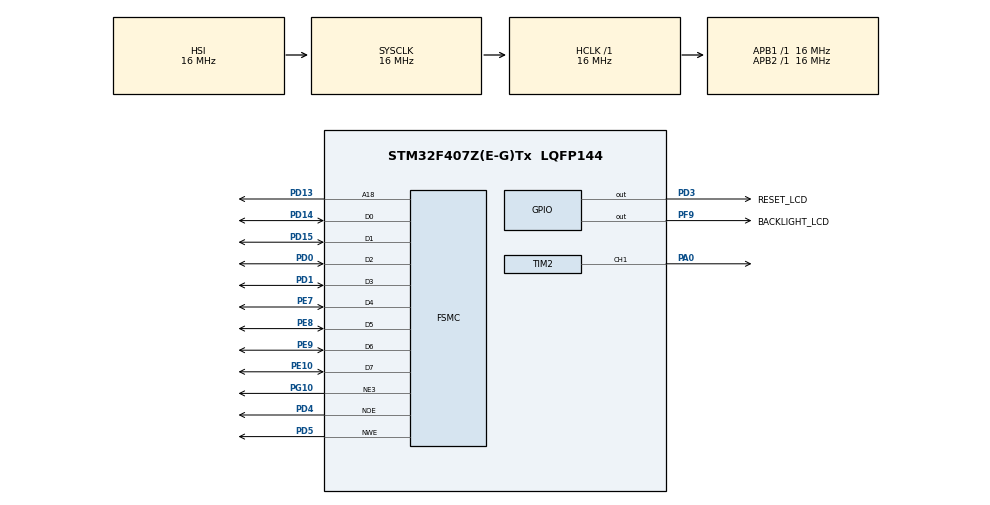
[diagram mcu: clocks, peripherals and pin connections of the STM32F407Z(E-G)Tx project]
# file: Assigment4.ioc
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Mcu.Family=STM32F4
Mcu.Name=STM32F407Z(E-G)Tx
Mcu.Package=LQFP144
NVIC.PriorityGroup=NVIC_PRIORITYGROUP_4
NVIC.TIM2_IRQn=true\:0\:0\:false\:false\:true\:true\:true\:true
NVIC.TIM3_IRQn=true\:0\:0\:false\:false\:true\:true\:true\:true
PA0-WKUP.Signal=S_TIM2_CH1_ETR
PD0.Signal=FSMC_D2_DA2
PD1.Signal=FSMC_D3_DA3
PD13.Signal=FSMC_A18
PD14.Signal=FSMC_D0_DA0
PD15.Signal=FSMC_D1_DA1
PD3.GPIO_Label=RESET_LCD
PD3.Signal=GPIO_Output
PD4.Signal=FSMC_NOE
PD5.Signal=FSMC_NWE
PE10.Signal=FSMC_D7_DA7
PE7.Signal=FSMC_D4_DA4
PE8.Signal=FSMC_D5_DA5
PE9.Signal=FSMC_D6_DA6
PF9.GPIO_Label=BACKLIGHT_LCD
PF9.Signal=GPIO_Output
PG10.Mode=NorPsramChipSelect3_1
PG10.Signal=FSMC_NE3
ProjectManager.HeapSize=0x200
ProjectManager.StackSize=0x400
ProjectManager.TargetToolchain=STM32CubeIDE
RCC.AHBFreq_Value=16000000
RCC.APB1Freq_Value=16000000
RCC.APB2Freq_Value=16000000
RCC.CortexFreq_Value=16000000
RCC.HSE_VALUE=25000000
RCC.HSI_VALUE=16000000
RCC.LSE_VALUE=32768
RCC.SYSCLKFreq_VALUE=16000000
RCC.VCOOutputFreq_Value=192000000
RTC.Date=10
RTC.Month=RTC_MONTH_JUNE
RTC.WeekDay=RTC_WEEKDAY_WEDNESDAY
SH.FSMC_A18.0=FSMC_A18,A18_1
SH.FSMC_D0_DA0.0=FSMC_D0,8b-d1
SH.FSMC_D1_DA1.0=FSMC_D1,8b-d1
SH.FSMC_D2_DA2.0=FSMC_D2,8b-d1
SH.FSMC_D3_DA3.0=FSMC_D3,8b-d1
SH.FSMC_D4_DA4.0=FSMC_D4,8b-d1
SH.FSMC_D5_DA5.0=FSMC_D5,8b-d1
SH.FSMC_D6_DA6.0=FSMC_D6,8b-d1
SH.FSMC_D7_DA7.0=FSMC_D7,8b-d1
SH.FSMC_NOE.0=FSMC_NOE,Lcd1
SH.FSMC_NWE.0=FSMC_NWE,Lcd1
SH.S_TIM2_CH1_ETR.0=TIM2_CH1,PWM Generation1 CH1
TIM2.Channel-PWM\ Generation1\ CH1=TIM_CHANNEL_1
TIM2.Prescaler=99
TIM3.Prescaler=15
VP_RTC_VS_RTC_Activate.Mode=RTC_Enabled
VP_RTC_VS_RTC_Calendar.Mode=RTC_Calendar
VP_TIM2_VS_ClockSourceINT.Mode=Internal
VP_TIM3_VS_ClockSourceINT.Mode=Internal
board=custom

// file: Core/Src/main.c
/* USER CODE BEGIN Header */
/**
  ****************************************************************************
  * @file           : main.c
  * @brief          : Main program body
  ****************************************************************************
  * @attention
  *
  * Copyright (c) 2026 STMicroelectronics.
  * All rights reserved.
  *
  * This software is licensed under terms that can be found in the LICENSE file
  * in the root directory of this software component.
  * If no LICENSE file comes with this software, it is provided AS-IS.
  *
  ****************************************************************************
  */
/* USER CODE END Header */
#include "main.h"

/* USER CODE BEGIN Includes */
#include "drv_lcd.h"
#include "stdio.h"
/* USER CODE END Includes */

RTC_HandleTypeDef hrtc;

TIM_HandleTypeDef htim2;
TIM_HandleTypeDef htim3;

SRAM_HandleTypeDef hsram1;

/* USER CODE BEGIN PV */
volatile uint8_t updateled = 0;
volatile uint8_t lcd_update_requested = 0;

volatile uint16_t global_time = 0;

RTC_TimeTypeDef sTime = {0};
RTC_DateTypeDef sDate = {0};
/* USER CODE END PV */

void SystemClock_Config(void);
static void MX_GPIO_Init(void);
static void MX_TIM2_Init(void);
static void MX_FSMC_Init(void);
static void MX_TIM3_Init(void);
static void MX_RTC_Init(void);

/* USER CODE BEGIN 0 */
void HAL_TIM_PeriodElapsedCallback(TIM_HandleTypeDef *htim) {
	if(htim->Instance == TIM2) {
		updateled = 1;
	}

	if(htim->Instance == TIM3) {
		global_time++;

		if(global_time >= 1000) {
			global_time = 0;
		}

		if(global_time % 100 == 0) {
			lcd_update_requested = 1;
		}
	}
}

void ledFade(uint16_t system_ms) {
    uint32_t duty_cycle = 0;

    // Use the absolute system time instead of a local counter
    if(system_ms <= 600) {
        duty_cycle = 159 - ((159 * (uint16_t)system_ms) / 600);
        __HAL_TIM_SET_COMPARE(&htim2, TIM_CHANNEL_1, duty_cycle);
    } else {
        // Explicitly keep the LED off from 601ms to 999ms
        __HAL_TIM_SET_COMPARE(&htim2, TIM_CHANNEL_1, 0);
    }

	}

void lcdUpdate() {
	HAL_RTC_GetTime(&hrtc, &sTime, RTC_FORMAT_BIN);
	HAL_RTC_GetDate(&hrtc, &sDate, RTC_FORMAT_BIN);

	char timeINlcd[20];

	sprintf(timeINlcd, "%02d:%02d:%02d:%03d", sTime.Hours, sTime.Minutes, sTime.Seconds, global_time);

    lcd_set_color(YELLOW, BLACK);       // <-- set font BLACK, background CYAN
	lcd_show_string(8, 100, 32, timeINlcd);
}
/* USER CODE END 0 */

int main(void)
{

  /* MCU Configuration--------------------------------------------------------*/

  /* Reset of all peripherals, Initializes the Flash interface and the Systick. */
  HAL_Init();

  /* Configure the system clock */
  SystemClock_Config();

  /* Initialize all configured peripherals */
  MX_GPIO_Init();
  MX_TIM2_Init();
  MX_FSMC_Init();
  MX_TIM3_Init();
  MX_RTC_Init();
  /* USER CODE BEGIN 2 */
  HAL_TIM_Base_Start_IT(&htim2);
  HAL_TIM_Base_Start_IT(&htim3);

  HAL_TIM_PWM_Start(&htim2, TIM_CHANNEL_1);

  drv_lcd_init();
  lcd_clear(YELLOW);
  /* USER CODE END 2 */

  /* Infinite loop */
  while (1)
  {

    /* USER CODE BEGIN 3 */
	  if(updateled == 1) {
		  updateled = 0;
		  ledFade(global_time);
	  }

	  if(lcd_update_requested == 1) {
		  lcd_update_requested = 0;
		  lcdUpdate();
	  }

  }
  /* USER CODE END 3 */
}

void SystemClock_Config(void)
{
  RCC_OscInitTypeDef RCC_OscInitStruct = {0};
  RCC_ClkInitTypeDef RCC_ClkInitStruct = {0};

  /** Configure the main internal regulator output voltage
  */
  __HAL_RCC_PWR_CLK_ENABLE();
  __HAL_PWR_VOLTAGESCALING_CONFIG(PWR_REGULATOR_VOLTAGE_SCALE1);

  /** Initializes the RCC Oscillators according to the specified parameters
  * in the RCC_OscInitTypeDef structure.
  */
  RCC_OscInitStruct.OscillatorType = RCC_OSCILLATORTYPE_HSI|RCC_OSCILLATORTYPE_LSI;
  RCC_OscInitStruct.HSIState = RCC_HSI_ON;
  RCC_OscInitStruct.HSICalibrationValue = RCC_HSICALIBRATION_DEFAULT;
  RCC_OscInitStruct.LSIState = RCC_LSI_ON;
  RCC_OscInitStruct.PLL.PLLState = RCC_PLL_NONE;
  if (HAL_RCC_OscConfig(&RCC_OscInitStruct) != HAL_OK)
  {
    Error_Handler();
  }

  /** Initializes the CPU, AHB and APB buses clocks
  */
  RCC_ClkInitStruct.ClockType = RCC_CLOCKTYPE_HCLK|RCC_CLOCKTYPE_SYSCLK
                              |RCC_CLOCKTYPE_PCLK1|RCC_CLOCKTYPE_PCLK2;
  RCC_ClkInitStruct.SYSCLKSource = RCC_SYSCLKSOURCE_HSI;
  RCC_ClkInitStruct.AHBCLKDivider = RCC_SYSCLK_DIV1;
  RCC_ClkInitStruct.APB1CLKDivider = RCC_HCLK_DIV1;
  RCC_ClkInitStruct.APB2CLKDivider = RCC_HCLK_DIV1;

  if (HAL_RCC_ClockConfig(&RCC_ClkInitStruct, FLASH_LATENCY_0) != HAL_OK)
  {
    Error_Handler();
  }
}

static void MX_RTC_Init(void)
{

  RTC_TimeTypeDef sTime = {0};
  RTC_DateTypeDef sDate = {0};

  /** Initialize RTC Only
  */
  hrtc.Instance = RTC;
  hrtc.Init.HourFormat = RTC_HOURFORMAT_24;
  hrtc.Init.AsynchPrediv = 127;
  hrtc.Init.SynchPrediv = 255;
  hrtc.Init.OutPut = RTC_OUTPUT_DISABLE;
  hrtc.Init.OutPutPolarity = RTC_OUTPUT_POLARITY_HIGH;
  hrtc.Init.OutPutType = RTC_OUTPUT_TYPE_OPENDRAIN;
  if (HAL_RTC_Init(&hrtc) != HAL_OK)
  {
    Error_Handler();
  }

  /** Initialize RTC and set the Time and Date
  */
  sTime.Hours = 0x0;
  sTime.Minutes = 0x0;
  sTime.Seconds = 0x0;
  sTime.DayLightSaving = RTC_DAYLIGHTSAVING_NONE;
  sTime.StoreOperation = RTC_STOREOPERATION_RESET;
  if (HAL_RTC_SetTime(&hrtc, &sTime, RTC_FORMAT_BCD) != HAL_OK)
  {
    Error_Handler();
  }
  sDate.WeekDay = RTC_WEEKDAY_FRIDAY;
  sDate.Month = RTC_MONTH_JUNE;
  sDate.Date = 0x5;
  sDate.Year = 0x26;

  if (HAL_RTC_SetDate(&hrtc, &sDate, RTC_FORMAT_BCD) != HAL_OK)
  {
    Error_Handler();
  }

}

static void MX_TIM2_Init(void)
{

  TIM_ClockConfigTypeDef sClockSourceConfig = {0};
  TIM_MasterConfigTypeDef sMasterConfig = {0};
  TIM_OC_InitTypeDef sConfigOC = {0};

  htim2.Instance = TIM2;
  htim2.Init.Prescaler = 99;
  htim2.Init.CounterMode = TIM_COUNTERMODE_UP;
  htim2.Init.Period = 159;
  htim2.Init.ClockDivision = TIM_CLOCKDIVISION_DIV1;
  htim2.Init.AutoReloadPreload = TIM_AUTORELOAD_PRELOAD_DISABLE;
  if (HAL_TIM_Base_Init(&htim2) != HAL_OK)
  {
    Error_Handler();
  }
  sClockSourceConfig.ClockSource = TIM_CLOCKSOURCE_INTERNAL;
  if (HAL_TIM_ConfigClockSource(&htim2, &sClockSourceConfig) != HAL_OK)
  {
    Error_Handler();
  }
  if (HAL_TIM_PWM_Init(&htim2) != HAL_OK)
  {
    Error_Handler();
  }
  sMasterConfig.MasterOutputTrigger = TIM_TRGO_RESET;
  sMasterConfig.MasterSlaveMode = TIM_MASTERSLAVEMODE_DISABLE;
  if (HAL_TIMEx_MasterConfigSynchronization(&htim2, &sMasterConfig) != HAL_OK)
  {
    Error_Handler();
  }
  sConfigOC.OCMode = TIM_OCMODE_PWM1;
  sConfigOC.Pulse = 0;
  sConfigOC.OCPolarity = TIM_OCPOLARITY_HIGH;
  sConfigOC.OCFastMode = TIM_OCFAST_DISABLE;
  if (HAL_TIM_PWM_ConfigChannel(&htim2, &sConfigOC, TIM_CHANNEL_1) != HAL_OK)
  {
    Error_Handler();
  }
  HAL_TIM_MspPostInit(&htim2);

}

static void MX_TIM3_Init(void)
{

  TIM_ClockConfigTypeDef sClockSourceConfig = {0};
  TIM_MasterConfigTypeDef sMasterConfig = {0};

  htim3.Instance = TIM3;
  htim3.Init.Prescaler = 15;
  htim3.Init.CounterMode = TIM_COUNTERMODE_UP;
  htim3.Init.Period = 999;
  htim3.Init.ClockDivision = TIM_CLOCKDIVISION_DIV1;
  htim3.Init.AutoReloadPreload = TIM_AUTORELOAD_PRELOAD_DISABLE;
  if (HAL_TIM_Base_Init(&htim3) != HAL_OK)
  {
    Error_Handler();
  }
  sClockSourceConfig.ClockSource = TIM_CLOCKSOURCE_INTERNAL;
  if (HAL_TIM_ConfigClockSource(&htim3, &sClockSourceConfig) != HAL_OK)
  {
    Error_Handler();
  }
  sMasterConfig.MasterOutputTrigger = TIM_TRGO_RESET;
  sMasterConfig.MasterSlaveMode = TIM_MASTERSLAVEMODE_DISABLE;
  if (HAL_TIMEx_MasterConfigSynchronization(&htim3, &sMasterConfig) != HAL_OK)
  {
    Error_Handler();
  }

}

static void MX_GPIO_Init(void)
{
  GPIO_InitTypeDef GPIO_InitStruct = {0};

  /* GPIO Ports Clock Enable */
  __HAL_RCC_GPIOF_CLK_ENABLE();
  __HAL_RCC_GPIOA_CLK_ENABLE();
  __HAL_RCC_GPIOE_CLK_ENABLE();
  __HAL_RCC_GPIOD_CLK_ENABLE();
  __HAL_RCC_GPIOG_CLK_ENABLE();

  /*Configure GPIO pin Output Level */
  HAL_GPIO_WritePin(BACKLIGHT_LCD_GPIO_Port, BACKLIGHT_LCD_Pin, GPIO_PIN_RESET);

  /*Configure GPIO pin Output Level */
  HAL_GPIO_WritePin(RESET_LCD_GPIO_Port, RESET_LCD_Pin, GPIO_PIN_RESET);

  /*Configure GPIO pin : BACKLIGHT_LCD_Pin */
  GPIO_InitStruct.Pin = BACKLIGHT_LCD_Pin;
  GPIO_InitStruct.Mode = GPIO_MODE_OUTPUT_PP;
  GPIO_InitStruct.Pull = GPIO_NOPULL;
  GPIO_InitStruct.Speed = GPIO_SPEED_FREQ_LOW;
  HAL_GPIO_Init(BACKLIGHT_LCD_GPIO_Port, &GPIO_InitStruct);

  /*Configure GPIO pin : RESET_LCD_Pin */
  GPIO_InitStruct.Pin = RESET_LCD_Pin;
  GPIO_InitStruct.Mode = GPIO_MODE_OUTPUT_PP;
  GPIO_InitStruct.Pull = GPIO_NOPULL;
  GPIO_InitStruct.Speed = GPIO_SPEED_FREQ_LOW;
  HAL_GPIO_Init(RESET_LCD_GPIO_Port, &GPIO_InitStruct);

}

/* FSMC initialization function */
static void MX_FSMC_Init(void)
{

  FSMC_NORSRAM_TimingTypeDef Timing = {0};

  /** Perform the SRAM1 memory initialization sequence
  */
  hsram1.Instance = FSMC_NORSRAM_DEVICE;
  hsram1.Extended = FSMC_NORSRAM_EXTENDED_DEVICE;
  /* hsram1.Init */
  hsram1.Init.NSBank = FSMC_NORSRAM_BANK3;
  hsram1.Init.DataAddressMux = FSMC_DATA_ADDRESS_MUX_DISABLE;
  hsram1.Init.MemoryType = FSMC_MEMORY_TYPE_SRAM;
  hsram1.Init.MemoryDataWidth = FSMC_NORSRAM_MEM_BUS_WIDTH_8;
  hsram1.Init.BurstAccessMode = FSMC_BURST_ACCESS_MODE_DISABLE;
  hsram1.Init.WaitSignalPolarity = FSMC_WAIT_SIGNAL_POLARITY_LOW;
  hsram1.Init.WrapMode = FSMC_WRAP_MODE_DISABLE;
  hsram1.Init.WaitSignalActive = FSMC_WAIT_TIMING_BEFORE_WS;
  hsram1.Init.WriteOperation = FSMC_WRITE_OPERATION_ENABLE;
  hsram1.Init.WaitSignal = FSMC_WAIT_SIGNAL_DISABLE;
  hsram1.Init.ExtendedMode = FSMC_EXTENDED_MODE_DISABLE;
  hsram1.Init.AsynchronousWait = FSMC_ASYNCHRONOUS_WAIT_DISABLE;
  hsram1.Init.WriteBurst = FSMC_WRITE_BURST_DISABLE;
  hsram1.Init.PageSize = FSMC_PAGE_SIZE_NONE;
  /* Timing */
  Timing.AddressSetupTime = 1;
  Timing.AddressHoldTime = 15;
  Timing.DataSetupTime = 60;
  Timing.BusTurnAroundDuration = 0;
  Timing.CLKDivision = 16;
  Timing.DataLatency = 17;
  Timing.AccessMode = FSMC_ACCESS_MODE_A;
  /* ExtTiming */

  if (HAL_SRAM_Init(&hsram1, &Timing, NULL) != HAL_OK)
  {
    Error_Handler( );
  }

}

void Error_Handler(void)
{
  __disable_irq();
  while (1)
  {
  }
}
